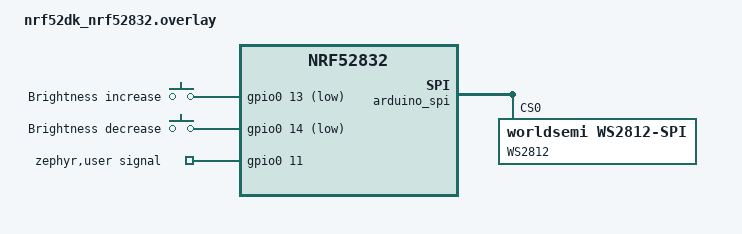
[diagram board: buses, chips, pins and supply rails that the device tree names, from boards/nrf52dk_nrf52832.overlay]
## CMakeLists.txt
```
cmake_minimum_required(VERSION 3.20.0)
find_package(Zephyr REQUIRED HINTS $ENV{ZEPHYR_BASE})
project(ble_fsm_demo)
target_sources(app PRIVATE
  			src/main.c
  			led_strip_src/led_strip.c
			motor_src/motor.c
)
target_include_directories(app PRIVATE ${CMAKE_CURRENT_SOURCE_DIR})
```

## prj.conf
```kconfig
# BLE core
CONFIG_BT=y
CONFIG_BT_PERIPHERAL=y
CONFIG_BT_DEVICE_NAME="nRF52_FSM"

# Enable required services
CONFIG_BT_GATT_SERVICE_CHANGED=y
CONFIG_BT_MAX_CONN=1

# GPIO for LEDs
CONFIG_GPIO=y

# Logging
CONFIG_LOG=y
CONFIG_USE_SEGGER_RTT=n
CONFIG_LOG_MODE_IMMEDIATE=y

# Enable BLE Central Role (for bt_le_scan_start/stop)
CONFIG_BT_CENTRAL=y

# Enable active scanning APIs
CONFIG_BT_OBSERVER=y

# WS2812 configurations
CONFIG_LED_STRIP=y
CONFIG_LED_STRIP_LOG_LEVEL_DBG=y
CONFIG_SPI=y
CONFIG_WS2812_STRIP_SPI=y
```

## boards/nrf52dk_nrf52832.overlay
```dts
/*
 * Copyright (c) 2019, Nordic Semiconductor ASA
 *
 * SPDX-License-Identifier: Apache-2.0
 */

#include <zephyr/dt-bindings/led/led.h>
#include <zephyr/dt-bindings/gpio/gpio.h>

#include "../nrf52-bindings.h"

&arduino_spi { /* MOSI on D11 / P0.23 */
	compatible = "nordic,nrf-spim";
	led_strip: ws2812@0 {
		compatible = "worldsemi,ws2812-spi";
		label = "WS2812";

		/* SPI */
		reg = <0>; /* ignored, but necessary for SPI bindings */
		spi-max-frequency = <SPI_FREQ>;

		/* WS2812 */
		chain-length = <16>; /* arbitrary; change at will */
		color-mapping = <LED_COLOR_ID_GREEN
				 LED_COLOR_ID_RED
				 LED_COLOR_ID_BLUE>;
		spi-one-frame = <ONE_FRAME>;
		spi-zero-frame = <ZERO_FRAME>;
	};
};

/ {
	aliases {
		led-strip = &led_strip;
		brightness-incr = &btn_brightness_incr;
		brightness-decr = &btn_brightness_decr;
	};
	
	// button
	gpio_keys {
	        compatible = "gpio-keys";
	        btn_brightness_incr: button_0 {
                        gpios = <&gpio0 13 (GPIO_PULL_UP | GPIO_ACTIVE_LOW)>; // P0.13
                        label = "Brightness increase";
                        zephyr,code = <INPUT_KEY_0>; // preserved for further interface app control
                };
                
                btn_brightness_decr: button_1 {
			gpios = <&gpio0 14 (GPIO_PULL_UP | GPIO_ACTIVE_LOW)>; // P0.14
			label = "Brightness decrease";
			zephyr,code = <INPUT_KEY_1>; 
		};
                 
	};
	
	// led_strip_gpio
	zephyr,user {
                signal-gpios = <&gpio0 11 GPIO_ACTIVE_HIGH>; // P0.11: sensor SW1801P
                
        };
};
```

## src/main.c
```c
/*
 * FSM-based BLE workflow on nRF52832 (Zephyr RTOS)
 * Peripheral (GATT Service) -> Central (BLE Scanner/Controller)
 */

#include <zephyr/kernel.h>
#include <zephyr/device.h>
#include <zephyr/drivers/gpio.h>
#include <zephyr/bluetooth/bluetooth.h>
#include <zephyr/bluetooth/hci.h>
#include <zephyr/bluetooth/gatt.h>
#include <zephyr/bluetooth/conn.h>
#include <zephyr/sys/printk.h>
#include <zephyr/bluetooth/uuid.h>
#include "led_strip_src/led_strip.h"
#include "motor_src/motor.h"
#include <zephyr/logging/log.h>
#include <zephyr/input/input.h>
#include "ble_uuids.h"

#define LOG_LEVEL_INF   3
#define LED1_NODE DT_ALIAS(led0)
#define LED2_NODE DT_ALIAS(led1)
#define BUTTON0_NODE DT_ALIAS(brightness_incr)
#define BUTTON1_NODE DT_ALIAS(brightness_decr)

LOG_MODULE_REGISTER(ble_fsm_demo, LOG_LEVEL_INF);

extern led_cmd_t led_cmd_data;  // the struct filled in write_cb

// led pins
static const struct gpio_dt_spec led1 = GPIO_DT_SPEC_GET(LED1_NODE, gpios);
static const struct gpio_dt_spec led2 = GPIO_DT_SPEC_GET(LED2_NODE, gpios);

// button pins
static const struct gpio_dt_spec brightness_incr = GPIO_DT_SPEC_GET(BUTTON0_NODE, gpios); // button 0: brightness up
static const struct gpio_dt_spec brightness_decr = GPIO_DT_SPEC_GET(BUTTON1_NODE, gpios); // button 1: brightness down

// global variables
int sensor_flag = 0; // flag to detect when motor is on
static int sensor_led_mode = 0; // mode state flag
static int last_vibration_count = 0;

// Global brightness control (0-255)
static int global_brightness = 255; // Default brightness

// flags for command received
volatile bool ble_command_received = false;
volatile bool motor_command_received = false;
volatile bool motor_config_received = false;

/* FSM States */
typedef enum {
	STATE_IDLE,
	STATE_PERIPHERAL,
	STATE_LED_CTRL,
	STATE_MOTOR_CONFIG,
} ble_state_t;

static ble_state_t current_state = STATE_IDLE;
static struct bt_conn *current_conn = NULL;

// Characteristic names for UI/tools debug
#define CONTROL_SERVICE_NAME     "SLB Control Service"
#define LED_CTRL_NAME            "LED Control"
#define MOTOR_CTRL_NAME          "Motor Control"
#define MOTOR_CFG_NAME           "Motor Config"


/* Callback on read from phone*/
static ssize_t read_cb(struct bt_conn *conn,
		       const struct bt_gatt_attr *attr,
		       void *buf, uint16_t len,
		       uint16_t offset)
{
	const char *value = "LED On"; // read result: 4C 45 44 20 4F 6E
	return bt_gatt_attr_read(conn, attr, buf, len, offset, value, strlen(value));
}

/* Callback on write from phone */
ssize_t write_cb(struct bt_conn *conn, const struct bt_gatt_attr *attr,
                 const void *buf, uint16_t len, uint16_t offset, uint8_t flags)
{
	// data declare
    const uint8_t *data = (const uint8_t *)buf;

	// Convert to string for UTF-8 command detection
    char str_buf[64] = {0};
    uint16_t str_len = len < sizeof(str_buf) - 1 ? len : sizeof(str_buf) - 1;
    memcpy(str_buf, data, str_len); 
    str_buf[str_len] = '\0';
	
	printk("\nReceived command:");
    for (int i = 0; i < len; i++) {
        printk(" %02X", ((const uint8_t *)buf)[i]);
    }
    printk("\n");

	// compare UUID LED
	if (bt_uuid_cmp(attr->uuid, &led_char_uuid.uuid) == 0) {
		if (len == sizeof(led_cmd_t)) {
			ble_command_received = true;
			const led_cmd_t *cmd = (const led_cmd_t *)buf;
			memcpy(&led_cmd_data, cmd, sizeof(led_cmd_t));
			printk(">> Switching to STATE_LED_CTRL (brightness: %d) <<\n", global_brightness);
			current_state = STATE_LED_CTRL;
		} 
	} else if (bt_uuid_cmp(attr->uuid, &motor_char_uuid.uuid) == 0) {
		motor_command_received = true;
	} else if (bt_uuid_cmp(attr->uuid, &motor_config_char_uuid.uuid) == 0) {
		printk(">> Switching to STATE_MOTOR_CONFIG <<\n");
		motor_config_received = true;
		current_state = STATE_MOTOR_CONFIG;
	}

	// print string & debug
	// printk("String: '%s'\n", str_buf);
	// printk("len = %d\n", len);
	// printk("sizeof(led_cmd_t) = %d\n", sizeof(led_cmd_t));
	// printk("First byte: 0x%02X\n", ((const uint8_t *)buf)[0]);

    // return len;
}
/*
custom_svc: is the service UUID
control_service_uuid: UUID of the characteristic
BT_GATT_CHRC_WRITE: allows writing
BT_GATT_PERM_WRITE: permission for writing
write_cb: function to handle the write
read_cb : function to handle the read
*/

/* Custom GATT services */
BT_GATT_SERVICE_DEFINE(custom_svc,
	BT_GATT_PRIMARY_SERVICE(&control_service_uuid),

	BT_GATT_CHARACTERISTIC(&led_char_uuid.uuid,
	BT_GATT_CHRC_READ | BT_GATT_CHRC_WRITE | BT_GATT_CHRC_NOTIFY,
	BT_GATT_PERM_READ | BT_GATT_PERM_WRITE,
	read_cb, write_cb, NULL),
	BT_GATT_CUD(LED_CTRL_NAME, BT_GATT_PERM_READ),

	BT_GATT_CHARACTERISTIC(&motor_char_uuid.uuid,
	BT_GATT_CHRC_READ | BT_GATT_CHRC_WRITE | BT_GATT_CHRC_NOTIFY,
	BT_GATT_PERM_READ | BT_GATT_PERM_WRITE,
	read_cb, write_cb, NULL),
	BT_GATT_CUD(MOTOR_CTRL_NAME, BT_GATT_PERM_READ),

	BT_GATT_CHARACTERISTIC(&motor_config_char_uuid.uuid,
	BT_GATT_CHRC_READ | BT_GATT_CHRC_WRITE | BT_GATT_CHRC_NOTIFY,
	BT_GATT_PERM_READ | BT_GATT_PERM_WRITE,
	read_cb, write_cb, NULL),
	BT_GATT_CUD(MOTOR_CFG_NAME, BT_GATT_PERM_READ),
);

/* Peripheral Callbacks */
static void connected(struct bt_conn *conn, uint8_t err)
{
	if (!err) {
		current_conn = conn;
		current_state = STATE_IDLE;
		printk("Phone is connected\n");
		gpio_pin_set_dt(&led1, 1);	
	}
}

static void disconnected(struct bt_conn *conn, uint8_t reason)
{
	current_conn = NULL;
	printk("Phone disconnected\n");
	gpio_pin_set_dt(&led1, 0);
	if (current_state == STATE_IDLE) {
		bt_disable();
		current_state = STATE_IDLE;
	}
}

BT_CONN_CB_DEFINE(conn_callbacks) = {
	.connected = connected,
	.disconnected = disconnected,
};

/* Central: Scan callback */
static void device_found(const bt_addr_le_t *addr, int8_t rssi, uint8_t type,
			struct net_buf_simple *ad)
{
	char addr_str[BT_ADDR_LE_STR_LEN], name[32] = {0};
	bt_addr_le_to_str(addr, addr_str, sizeof(addr_str));
	printk("Found device %s, RSSI: %d dBm\n", addr_str, rssi);
	
	// Extract name from advertising payload
    for (int i = 0; i < ad->len - 1;) {
        uint8_t len = ad->data[i++];
        if (len == 0 || (i + len - 1) > ad->len) break;
        uint8_t type = ad->data[i++];
        if (type == BT_DATA_NAME_COMPLETE || type == BT_DATA_NAME_SHORTENED) {
            memcpy(name, &ad->data[i], MIN(len - 1, sizeof(name) - 1));
            printk("Device name: %s\n", name);
            break;
        }
        i += len - 2;
    }

	// TODO: match UUID/name then connect (preserved)
	gpio_pin_set_dt(&led2, 1);
	current_state = STATE_IDLE;
	bt_le_scan_stop();
}

void start_scan(void)
{
	struct bt_le_scan_param scan_param = {
		.type       = BT_LE_SCAN_PASSIVE,
		.options    = BT_LE_SCAN_OPT_NONE,
		.interval   = 0x0010,
		.window     = 0x0010,
	};

	int err = bt_le_scan_start(&scan_param, device_found);
    if (err) {
        printk("Scan failed (err %d)\n", err);
    } else {
        printk("Scanning started...\n");
    }
}

const char *motor_status(void)
	{
		motor_on();
    	return "ON";
	}

// button brightness handle
void button_handler(void){
	static bool last_incr_state = false;
	static bool last_decr_state = false;
	static bool config_initialized = false;

	// Initialize config state only once
	if (!config_initialized) {
		printk(">> STATE_MOTOR_CONFIG : ON <<\n");
		printk("Global brightness control: 0-255 (10 units per press)\n");
		printk("Current brightness: %d\n", global_brightness);
		config_initialized = true;
	}

	// Check buttons once per loop iteration (non-blocking)
	bool incr_pressed = gpio_pin_get_dt(&brightness_incr) == 0;
	bool decr_pressed = gpio_pin_get_dt(&brightness_decr) == 0;

	// Get the last command to preserve color settings
	const led_cmd_t* last_cmd = get_last_led_cmd();

	// Only print when button state changes from not pressed to pressed
	if (incr_pressed && !last_incr_state) {
		global_brightness += 10;
		if (global_brightness > 100) {
			global_brightness = 100;
		}
		printk(">> Global Brightness ++: %d\n", global_brightness);

		led_cmd_t brightness_cmd = *last_cmd;  // Copy last command
		brightness_cmd.brightness = global_brightness; // Sync it
		led_strip_control(&brightness_cmd); // Use latest brightness

	}

	if (decr_pressed && !last_decr_state) {
		global_brightness -= 10;
		if (global_brightness < 0) {
			global_brightness = 0;
		}
		printk(">> Global Brightness --: %d\n", global_brightness);

		led_cmd_t brightness_cmd = *last_cmd;  // Copy last command
		brightness_cmd.brightness = global_brightness; // Sync it
		led_strip_control(&brightness_cmd); // Use latest brightness
	}

	// Update last states
	last_incr_state = incr_pressed;
	last_decr_state = decr_pressed;

	// Small delay to prevent too rapid changes
	if (incr_pressed || decr_pressed) {
		k_msleep(50); // debounce
	}

	// safety check
	if (last_cmd == NULL) {
		printk("No previous command available\n");
		return;
	}
}

void main(void)
{    
	gpio_pin_configure_dt(&led1, GPIO_OUTPUT_INACTIVE);
	gpio_pin_configure_dt(&led2, GPIO_OUTPUT_INACTIVE);

	// button pins
	gpio_pin_configure_dt(&brightness_incr, GPIO_INPUT);
	gpio_pin_configure_dt(&brightness_decr, GPIO_INPUT);
	gpio_pin_set_dt(&brightness_incr, 1);
	gpio_pin_set_dt(&brightness_decr, 1);

	// delay
	k_sleep(K_MSEC(150));

	if (bt_enable(NULL) == 0) {
		printk("Bluetooth enabled\n");
		k_sleep(K_MSEC(150));
		current_state = STATE_PERIPHERAL;
	} else {
		printk("Bluetooth init failed\n");
		return;
	}

	// turn on sensor & detect flag
	while (1) {
		// FSM for BLE and sensor/LED logic
		switch (current_state) {
			case STATE_PERIPHERAL:
				printk("Acting as Peripheral...\n");
				bt_le_adv_start(BT_LE_ADV_CONN_NAME, NULL, 0, NULL, 0);
				current_state = STATE_IDLE;
				break;
			case STATE_IDLE:
				// Handle motor command if received
				if (motor_command_received) {
					printk(">> Motor control triggered <<\n");
					LOG_INF("Motor state: %s", motor_status());
					motor_command_received = false;
				}
				
				// Tap detection and LED mode cycling
				if (vibration_count != last_vibration_count) {
					motor_command_received = true;
					last_vibration_count = vibration_count;
					sensor_led_mode = (sensor_led_mode + 1) % 3;
					printk("Tap detected! New mode: %d\n", sensor_led_mode);
					led_cmd_t sensor_cmd = {
						.mode = sensor_led_mode,
						.r = 255, .g = 0, .b = 0, // Only used in mode 0
						.brightness = global_brightness, // Uses global brightness
						.duration = 0
					};
					k_sleep(K_MSEC(100));
					led_strip_control(&sensor_cmd);
				}
				k_sleep(K_MSEC(10));
				break;
			case STATE_LED_CTRL:
				// Handle BLE LED command
				led_strip_control(&led_cmd_data);
				current_state = STATE_IDLE; // Always return to IDLE
				break;
			case STATE_MOTOR_CONFIG:				
				// Check if motor config flag is enabled before executing
				if (motor_config_received) {

					button_handler();

				} else {
					// Exit motor config state when flag is cleared
					printk("Motor configuration: done\n");
					motor_config_received = false;
					current_state = STATE_IDLE;
				}
				break;
		}
	}	
}
```

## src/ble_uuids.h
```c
#ifndef BLE_UUIDS_H
#define BLE_UUIDS_H

#include <zephyr/bluetooth/uuid.h>

// Custom 128-bit UUIDs
#define BT_UUID_CONTROL_SERVICE_VAL         BT_UUID_128_ENCODE(0x534C4220, 0x4441, 0x4E54, 0x494E, 0x4F0000001000)
#define BT_UUID_LED_CONTROL_CHAR_VAL        BT_UUID_128_ENCODE(0x534C4220, 0x4441, 0x4E54, 0x494E, 0x4F0000001001)
#define BT_UUID_MOTOR_CHAR_VAL              BT_UUID_128_ENCODE(0x534C4220, 0x4441, 0x4E54, 0x494E, 0x4F0000001002)
#define BT_UUID_MOTOR_CONFIG_CHAR_VAL       BT_UUID_128_ENCODE(0x534C4220, 0x4441, 0x4E54, 0x494E, 0x4F0000001003)

// Structs for binding
static struct bt_uuid_128 control_service_uuid     = BT_UUID_INIT_128(BT_UUID_CONTROL_SERVICE_VAL);
static struct bt_uuid_128 led_char_uuid             = BT_UUID_INIT_128(BT_UUID_LED_CONTROL_CHAR_VAL);
static struct bt_uuid_128 motor_char_uuid           = BT_UUID_INIT_128(BT_UUID_MOTOR_CHAR_VAL);
static struct bt_uuid_128 motor_config_char_uuid    = BT_UUID_INIT_128(BT_UUID_MOTOR_CONFIG_CHAR_VAL);

#endif /* BLE_UUIDS_H */
```
